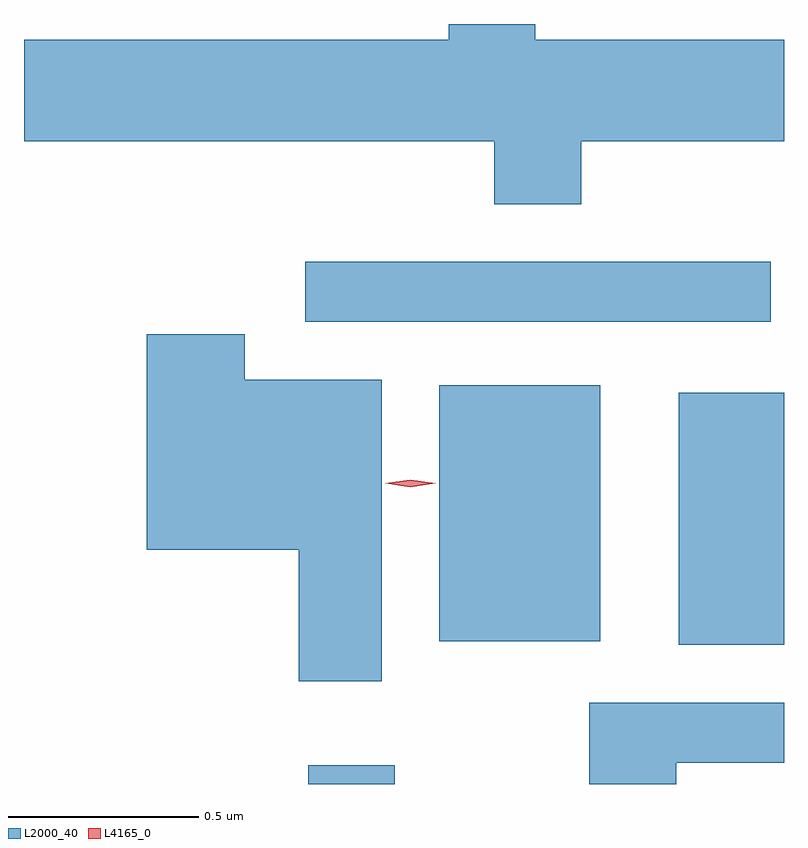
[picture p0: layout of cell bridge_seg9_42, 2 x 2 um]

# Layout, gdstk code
import gdstk
lib = gdstk.Library(unit=1e-6, precision=1e-09)
def R(c, l, rs):  # rectangles x0, y0, x1, y1
    for r in rs: c.add(gdstk.rectangle(r[:2], r[2:], *l))
def P(c, l, *ps):  # polygons
    for p in ps: c.add(gdstk.Polygon(p, *l))
L2000_40 = (2000, 40)
L4165_0 = (4165, 0)

bridge_seg9_42 = lib.new_cell('bridge_seg9_42')
R(bridge_seg9_42, L2000_40, [(1515.131,1999.005,1515.359,1999.054), (1516.106,1999.371,1516.383,2000.034), (1515.476,1999.381,1515.899,2000.054), (1515.123,2000.221,1516.348,2000.379)])
P(bridge_seg9_42, L2000_40, [(1515.849,2000.696),(1516.383,2000.696),(1516.383,2000.964),(1515.729,2000.964),(1515.729,2001.005),(1515.501,2001.005),(1515.501,2000.964),(1514.383,2000.964),(1514.383,2000.696),(1515.621,2000.696),(1515.621,2000.531),(1515.849,2000.531)],
  [(1515.324,2000.069),(1514.964,2000.069),(1514.964,2000.189),(1514.706,2000.189),(1514.706,1999.621),(1515.106,1999.621),(1515.106,1999.276),(1515.324,1999.276)],
  [(1516.099,1999.061),(1516.383,1999.061),(1516.383,1999.219),(1515.871,1999.219),(1515.871,1999.005),(1516.099,1999.005)])
P(bridge_seg9_42, L4165_0, [(1515.4,1999.786),(1515.333,1999.796),(1515.333,1999.796),(1515.333,1999.797),(1515.4,1999.806),(1515.466,1999.797),(1515.466,1999.796),(1515.466,1999.796)])

lib.write_gds('bridge_seg9_42.gds')
